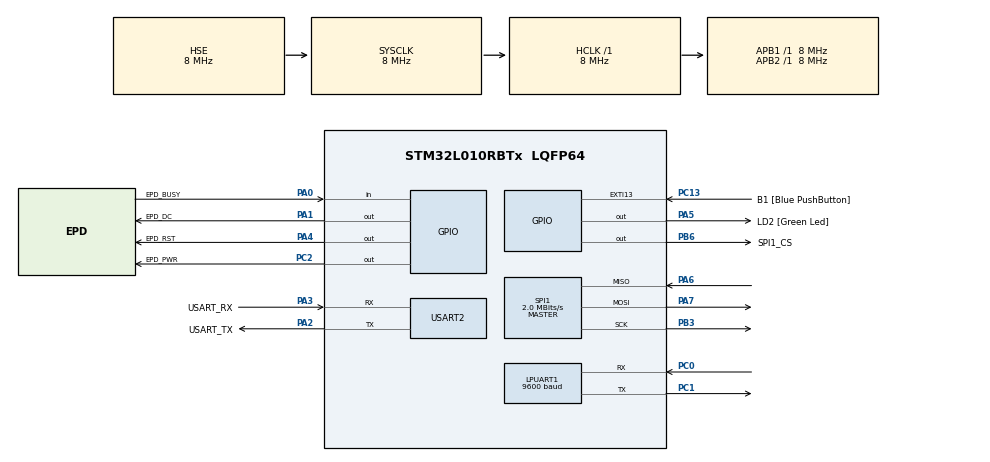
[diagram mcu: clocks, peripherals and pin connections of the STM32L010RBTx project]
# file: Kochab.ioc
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LPUART1.BaudRate=9600
LPUART1.MSBFirstParam=UART_ADVFEATURE_MSBFIRST_DISABLE
LPUART1.WordLength=UART_WORDLENGTH_8B
Mcu.Family=STM32L0
Mcu.Name=STM32L010RBTx
Mcu.Package=LQFP64
PA0.GPIO_Label=EPD_BUSY
PA0.Signal=GPIO_Input
PA1.GPIO_Label=EPD_DC
PA1.PinState=GPIO_PIN_SET
PA1.Signal=GPIO_Output
PA13.GPIO_Label=TMS
PA13.Mode=Serial_Wire
PA13.Signal=SYS_SWDIO
PA14.GPIO_Label=TCK
PA14.Mode=Serial_Wire
PA14.Signal=SYS_SWCLK
PA2.GPIO_Label=USART_TX
PA2.Mode=Asynchronous
PA2.Signal=USART2_TX
PA3.GPIO_Label=USART_RX
PA3.Mode=Asynchronous
PA3.Signal=USART2_RX
PA4.GPIO_Label=EPD_RST
PA4.PinState=GPIO_PIN_SET
PA4.Signal=GPIO_Output
PA5.GPIO_Label=LD2 [Green Led]
PA5.Signal=GPIO_Output
PA6.Mode=Full_Duplex_Master
PA6.Signal=SPI1_MISO
PA7.Mode=Full_Duplex_Master
PA7.Signal=SPI1_MOSI
PB3.Mode=Full_Duplex_Master
PB3.Signal=SPI1_SCK
PB6.GPIO_Label=SPI1_CS
PB6.GPIO_PuPd=GPIO_NOPULL
PB6.PinState=GPIO_PIN_SET
PB6.Signal=GPIO_Output
PC0.Mode=Asynchronous
PC0.Signal=LPUART1_RX
PC1.Mode=Asynchronous
PC1.Signal=LPUART1_TX
PC13.GPIO_Label=B1 [Blue PushButton]
PC13.GPIO_ModeDefaultEXTI=GPIO_MODE_IT_FALLING
PC13.Signal=GPXTI13
PC14-OSC32_IN.Mode=LSE-External-Oscillator
PC14-OSC32_IN.Signal=RCC_OSC32_IN
PC15-OSC32_OUT.Mode=LSE-External-Oscillator
PC15-OSC32_OUT.Signal=RCC_OSC32_OUT
PC2.GPIO_Label=EPD_PWR
PC2.Signal=GPIO_Output
PH0-OSC_IN.GPIO_Label=MCO
PH0-OSC_IN.Mode=HSE-External-Clock-Source
PH0-OSC_IN.Signal=RCC_OSC_IN
ProjectManager.HeapSize=0x2000
ProjectManager.StackSize=0x4000
ProjectManager.TargetToolchain=STM32CubeIDE
RCC.AHBFreq_Value=8000000
RCC.APB1Freq_Value=8000000
RCC.APB1TimFreq_Value=8000000
RCC.APB2Freq_Value=8000000
RCC.APB2TimFreq_Value=8000000
RCC.HCLKFreq_Value=8000000
RCC.HSE_VALUE=8000000
RCC.HSI16_VALUE=16000000
RCC.HSI48_VALUE=48000000
RCC.HSI_VALUE=16000000
RCC.Lpuart1ClockSelection=RCC_LPUART1CLKSOURCE_SYSCLK
RCC.MSI_VALUE=2097000
RCC.SYSCLKFreq_VALUE=8000000
RCC.SYSCLKSource=RCC_SYSCLKSOURCE_HSE
RCC.Usart2ClockSelection=RCC_USART2CLKSOURCE_SYSCLK
RCC.VCOOutputFreq_Value=48000000
SPI1.BaudRatePrescaler=SPI_BAUDRATEPRESCALER_4
SPI1.CalculateBaudRate=2.0 MBits/s
SPI1.Direction=SPI_DIRECTION_2LINES
SPI1.Mode=SPI_MODE_MASTER
SPI1.VirtualType=VM_MASTER
USART2.AutoBaudRateEnableParam=UART_ADVFEATURE_AUTOBAUDRATE_DISABLE
USART2.VirtualMode-Asynchronous=VM_ASYNC
board=NUCLEO-L010RB

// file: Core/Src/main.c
/* USER CODE BEGIN Header */
/**
  ******************************************************************************
  * @file           : main.c
  * @brief          : Main program body
  ******************************************************************************
  * @attention
  *
  * Copyright (c) 2024 STMicroelectronics.
  * All rights reserved.
  *
  * This software is licensed under terms that can be found in the LICENSE file
  * in the root directory of this software component.
  * If no LICENSE file comes with this software, it is provided AS-IS.
  *
  ******************************************************************************
  */
/* USER CODE END Header */
#include "main.h"

/* USER CODE BEGIN Includes */
#include <stdbool.h>
#include <stdint.h>
#include <stdio.h>
#include <string.h>
#include <time.h>
#include "bgfx.h"
#include "image.h"
/* USER CODE END Includes */

UART_HandleTypeDef hlpuart1;
UART_HandleTypeDef huart2;

SPI_HandleTypeDef hspi1;

void SystemClock_Config(void);
static void MX_GPIO_Init(void);
static void MX_SPI1_Init(void);
static void MX_USART2_UART_Init(void);
static void MX_LPUART1_UART_Init(void);

/* USER CODE BEGIN 0 */
#ifdef __GNUC__
#define PUTCHAR_PROTOTYPE int __io_putchar(int ch)
#else
#define PUTCHAR_PROTOTYPE int fputc(int ch, FILE *f)
#endif

PUTCHAR_PROTOTYPE {
  HAL_UART_Transmit(&huart2, (uint8_t *)&ch, 1, HAL_MAX_DELAY);
  return ch;
}

/* USER CODE END 0 */

int main(void)
{

  /* USER CODE BEGIN 1 */
  uint8_t rtn[] = "\r\n";
  uint16_t i = 0;
  uint8_t in = 'a';
  uint8_t buffer[1024] = {0};
  /* USER CODE END 1 */

  /* MCU Configuration--------------------------------------------------------*/

  /* Reset of all peripherals, Initializes the Flash interface and the Systick. */
  HAL_Init();

  /* Configure the system clock */
  SystemClock_Config();

  /* Initialize all configured peripherals */
  MX_GPIO_Init();
  MX_SPI1_Init();
  MX_USART2_UART_Init();
  MX_LPUART1_UART_Init();
  /* USER CODE BEGIN 2 */
  HAL_UART_ReceiverTimeout_Config(&hlpuart1, 9600 * 60);   // 60s timeout
  // HAL_UART_ReceiverTimeout_Config(&huart2, 9600 * 2);
  HAL_UART_EnableReceiverTimeout(&hlpuart1);
  // HAL_UART_EnableReceiverTimeout(&huart2);
  /* USER CODE END 2 */

  /* Infinite loop */
  /* USER CODE BEGIN WHILE */
  printf("Receiving GPS data...\r\n");

  while (1)
  {
    i = 0;
    in = ' ';

    do
    {
      HAL_UART_Receive(&hlpuart1, &in, (uint16_t)1U, 10000);
      buffer[i] = in;
      i++;
    }
    while ((in != '\n') && (i < 1024));

    HAL_UART_Transmit(&huart2, buffer, (uint16_t)i, HAL_MAX_DELAY);

    // HAL_UART_Transmit(&huart2, &rtn, 2, HAL_MAX_DELAY);
    /* USER CODE END WHILE */

  }
}

void SystemClock_Config(void)
{
  RCC_OscInitTypeDef RCC_OscInitStruct = {0};
  RCC_ClkInitTypeDef RCC_ClkInitStruct = {0};
  RCC_PeriphCLKInitTypeDef PeriphClkInit = {0};

  /** Configure the main internal regulator output voltage
  */
  __HAL_PWR_VOLTAGESCALING_CONFIG(PWR_REGULATOR_VOLTAGE_SCALE1);

  /** Initializes the RCC Oscillators according to the specified parameters
  * in the RCC_OscInitTypeDef structure.
  */
  RCC_OscInitStruct.OscillatorType = RCC_OSCILLATORTYPE_HSE;
  RCC_OscInitStruct.HSEState = RCC_HSE_BYPASS;
  RCC_OscInitStruct.PLL.PLLState = RCC_PLL_NONE;
  if (HAL_RCC_OscConfig(&RCC_OscInitStruct) != HAL_OK)
  {
    Error_Handler();
  }

  /** Initializes the CPU, AHB and APB buses clocks
  */
  RCC_ClkInitStruct.ClockType = RCC_CLOCKTYPE_HCLK|RCC_CLOCKTYPE_SYSCLK
                              |RCC_CLOCKTYPE_PCLK1|RCC_CLOCKTYPE_PCLK2;
  RCC_ClkInitStruct.SYSCLKSource = RCC_SYSCLKSOURCE_HSE;
  RCC_ClkInitStruct.AHBCLKDivider = RCC_SYSCLK_DIV1;
  RCC_ClkInitStruct.APB1CLKDivider = RCC_HCLK_DIV1;
  RCC_ClkInitStruct.APB2CLKDivider = RCC_HCLK_DIV1;

  if (HAL_RCC_ClockConfig(&RCC_ClkInitStruct, FLASH_LATENCY_0) != HAL_OK)
  {
    Error_Handler();
  }
  PeriphClkInit.PeriphClockSelection = RCC_PERIPHCLK_USART2|RCC_PERIPHCLK_LPUART1;
  PeriphClkInit.Usart2ClockSelection = RCC_USART2CLKSOURCE_SYSCLK;
  PeriphClkInit.Lpuart1ClockSelection = RCC_LPUART1CLKSOURCE_SYSCLK;
  if (HAL_RCCEx_PeriphCLKConfig(&PeriphClkInit) != HAL_OK)
  {
    Error_Handler();
  }
}

static void MX_LPUART1_UART_Init(void)
{

  hlpuart1.Instance = LPUART1;
  hlpuart1.Init.BaudRate = 9600;
  hlpuart1.Init.WordLength = UART_WORDLENGTH_8B;
  hlpuart1.Init.StopBits = UART_STOPBITS_1;
  hlpuart1.Init.Parity = UART_PARITY_NONE;
  hlpuart1.Init.Mode = UART_MODE_TX_RX;
  hlpuart1.Init.HwFlowCtl = UART_HWCONTROL_NONE;
  hlpuart1.Init.OneBitSampling = UART_ONE_BIT_SAMPLE_DISABLE;
  hlpuart1.AdvancedInit.AdvFeatureInit = UART_ADVFEATURE_NO_INIT;
  if (HAL_UART_Init(&hlpuart1) != HAL_OK)
  {
    Error_Handler();
  }

}

static void MX_USART2_UART_Init(void)
{

  huart2.Instance = USART2;
  huart2.Init.BaudRate = 115200;
  huart2.Init.WordLength = UART_WORDLENGTH_8B;
  huart2.Init.StopBits = UART_STOPBITS_1;
  huart2.Init.Parity = UART_PARITY_NONE;
  huart2.Init.Mode = UART_MODE_TX_RX;
  huart2.Init.HwFlowCtl = UART_HWCONTROL_NONE;
  huart2.Init.OverSampling = UART_OVERSAMPLING_16;
  huart2.Init.OneBitSampling = UART_ONE_BIT_SAMPLE_DISABLE;
  huart2.AdvancedInit.AdvFeatureInit = UART_ADVFEATURE_NO_INIT;
  if (HAL_UART_Init(&huart2) != HAL_OK)
  {
    Error_Handler();
  }

}

static void MX_SPI1_Init(void)
{

  /* SPI1 parameter configuration*/
  hspi1.Instance = SPI1;
  hspi1.Init.Mode = SPI_MODE_MASTER;
  hspi1.Init.Direction = SPI_DIRECTION_2LINES;
  hspi1.Init.DataSize = SPI_DATASIZE_8BIT;
  hspi1.Init.CLKPolarity = SPI_POLARITY_LOW;
  hspi1.Init.CLKPhase = SPI_PHASE_1EDGE;
  hspi1.Init.NSS = SPI_NSS_SOFT;
  hspi1.Init.BaudRatePrescaler = SPI_BAUDRATEPRESCALER_4;
  hspi1.Init.FirstBit = SPI_FIRSTBIT_MSB;
  hspi1.Init.TIMode = SPI_TIMODE_DISABLE;
  hspi1.Init.CRCCalculation = SPI_CRCCALCULATION_DISABLE;
  hspi1.Init.CRCPolynomial = 7;
  if (HAL_SPI_Init(&hspi1) != HAL_OK)
  {
    Error_Handler();
  }

}

static void MX_GPIO_Init(void)
{
  GPIO_InitTypeDef GPIO_InitStruct = {0};

  /* GPIO Ports Clock Enable */
  __HAL_RCC_GPIOC_CLK_ENABLE();
  __HAL_RCC_GPIOH_CLK_ENABLE();
  __HAL_RCC_GPIOA_CLK_ENABLE();
  __HAL_RCC_GPIOB_CLK_ENABLE();

  /*Configure GPIO pin Output Level */
  HAL_GPIO_WritePin(EPD_PWR_GPIO_Port, EPD_PWR_Pin, GPIO_PIN_RESET);

  /*Configure GPIO pin Output Level */
  HAL_GPIO_WritePin(GPIOA, EPD_DC_Pin|EPD_RST_Pin, GPIO_PIN_SET);

  /*Configure GPIO pin Output Level */
  HAL_GPIO_WritePin(LD2_GPIO_Port, LD2_Pin, GPIO_PIN_RESET);

  /*Configure GPIO pin Output Level */
  HAL_GPIO_WritePin(SPI1_CS_GPIO_Port, SPI1_CS_Pin, GPIO_PIN_SET);

  /*Configure GPIO pin : B1_Pin */
  GPIO_InitStruct.Pin = B1_Pin;
  GPIO_InitStruct.Mode = GPIO_MODE_IT_FALLING;
  GPIO_InitStruct.Pull = GPIO_NOPULL;
  HAL_GPIO_Init(B1_GPIO_Port, &GPIO_InitStruct);

  /*Configure GPIO pin : EPD_PWR_Pin */
  GPIO_InitStruct.Pin = EPD_PWR_Pin;
  GPIO_InitStruct.Mode = GPIO_MODE_OUTPUT_PP;
  GPIO_InitStruct.Pull = GPIO_NOPULL;
  GPIO_InitStruct.Speed = GPIO_SPEED_FREQ_LOW;
  HAL_GPIO_Init(EPD_PWR_GPIO_Port, &GPIO_InitStruct);

  /*Configure GPIO pin : EPD_BUSY_Pin */
  GPIO_InitStruct.Pin = EPD_BUSY_Pin;
  GPIO_InitStruct.Mode = GPIO_MODE_INPUT;
  GPIO_InitStruct.Pull = GPIO_NOPULL;
  HAL_GPIO_Init(EPD_BUSY_GPIO_Port, &GPIO_InitStruct);

  /*Configure GPIO pins : EPD_DC_Pin EPD_RST_Pin LD2_Pin */
  GPIO_InitStruct.Pin = EPD_DC_Pin|EPD_RST_Pin|LD2_Pin;
  GPIO_InitStruct.Mode = GPIO_MODE_OUTPUT_PP;
  GPIO_InitStruct.Pull = GPIO_NOPULL;
  GPIO_InitStruct.Speed = GPIO_SPEED_FREQ_LOW;
  HAL_GPIO_Init(GPIOA, &GPIO_InitStruct);

  /*Configure GPIO pin : SPI1_CS_Pin */
  GPIO_InitStruct.Pin = SPI1_CS_Pin;
  GPIO_InitStruct.Mode = GPIO_MODE_OUTPUT_PP;
  GPIO_InitStruct.Pull = GPIO_NOPULL;
  GPIO_InitStruct.Speed = GPIO_SPEED_FREQ_LOW;
  HAL_GPIO_Init(SPI1_CS_GPIO_Port, &GPIO_InitStruct);

}

void Error_Handler(void)
{
  __disable_irq();
  while (1)
  {
  }
}
